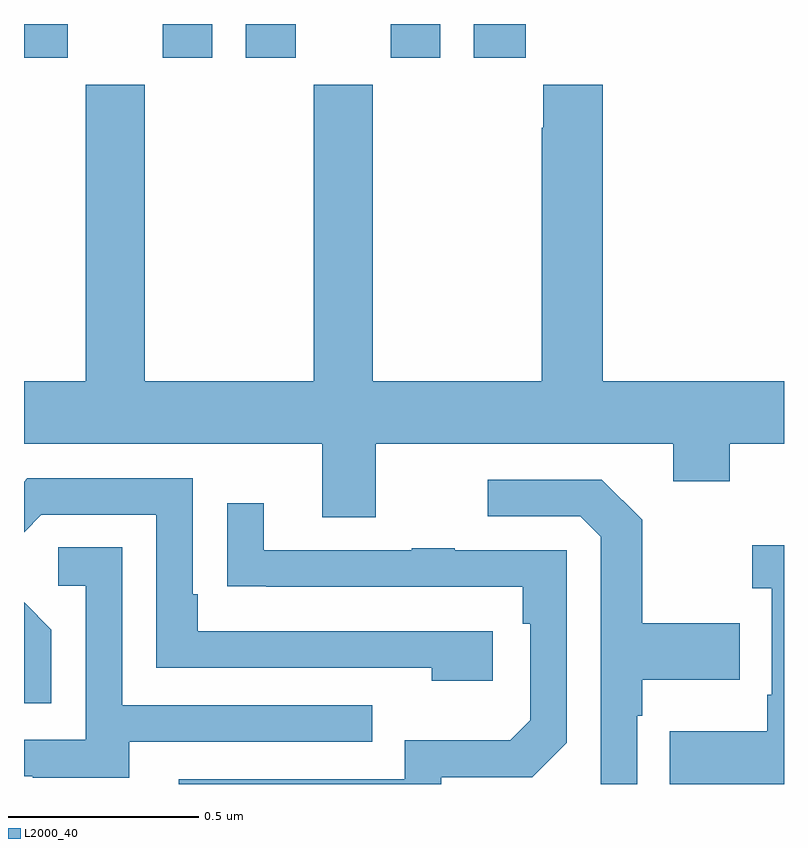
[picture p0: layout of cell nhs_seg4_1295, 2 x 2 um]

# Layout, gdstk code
import gdstk
lib = gdstk.Library(unit=1e-6, precision=1e-09)
def R(c, l, rs):  # rectangles x0, y0, x1, y1
    for r in rs: c.add(gdstk.rectangle(r[:2], r[2:], *l))
def P(c, l, *ps):  # polygons
    for p in ps: c.add(gdstk.Polygon(p, *l))
L2000_40 = (2000, 40)

nhs_seg4_1295 = lib.new_cell('nhs_seg4_1295')
R(nhs_seg4_1295, L2000_40, [(126,821.811,126.115,821.9), (126.365,821.811,126.496,821.9), (126.584,821.811,126.715,821.9), (126.965,821.811,127.096,821.9), (127.184,821.811,127.321,821.9)])
P(nhs_seg4_1295, L2000_40, [(126.925,820.796),(127.709,820.796),(127.709,820.697),(127.857,820.697),(127.857,820.796),(128,820.796),(128,820.96),(127.523,820.96),(127.523,821.74),(127.367,821.74),(127.367,821.627),(127.363,821.627),(127.363,820.96),(126.918,820.96),(126.918,821.74),(126.763,821.74),(126.763,820.96),(126.318,820.96),(126.318,821.74),(126.163,821.74),(126.163,820.96),(126,820.96),(126,820.796),(126.785,820.796),(126.785,820.602),(126.925,820.602)],
  [(127.234,820.302),(126.457,820.302),(126.457,820.399),(126.444,820.399),(126.444,820.704),(126.009,820.704),(126,820.695),(126,820.563),(126.045,820.608),(126.348,820.608),(126.348,820.206),(127.073,820.206),(127.073,820.172),(127.234,820.172)],
  [(127.614,820.079),(127.627,820.079),(127.627,820.175),(127.883,820.175),(127.883,820.323),(127.627,820.323),(127.627,820.595),(127.521,820.701),(127.221,820.701),(127.221,820.605),(127.464,820.605),(127.518,820.551),(127.518,819.9),(127.614,819.9)],
  [(127.098,819.918),(127.338,819.918),(127.428,820.008),(127.428,820.515),(127.133,820.515),(127.133,820.52),(127.021,820.52),(127.021,820.515),(126.631,820.515),(126.631,820.639),(126.535,820.639),(126.535,820.42),(126.637,820.42),(126.637,820.419),(127.312,820.419),(127.312,820.322),(127.332,820.322),(127.332,820.068),(127.279,820.015),(127.002,820.015),(127.002,819.912),(126.407,819.912),(126.407,819.9),(127.098,819.9)],
  [(128,820.528),(127.917,820.528),(127.917,820.415),(127.968,820.415),(127.968,820.135),(127.956,820.135),(127.956,820.039),(127.699,820.039),(127.699,819.9),(128,819.9)],
  [(126.277,820.011),(126.917,820.011),(126.917,820.107),(126.258,820.107),(126.258,820.523),(126.09,820.523),(126.09,820.422),(126.162,820.422),(126.162,820.017),(126,820.017),(126,819.921),(126.023,819.921),(126.023,819.917),(126.277,819.917)],
  [(126.072,820.306),(126,820.378),(126,820.113),(126.072,820.113)])

lib.write_gds('nhs_seg4_1295.gds')
